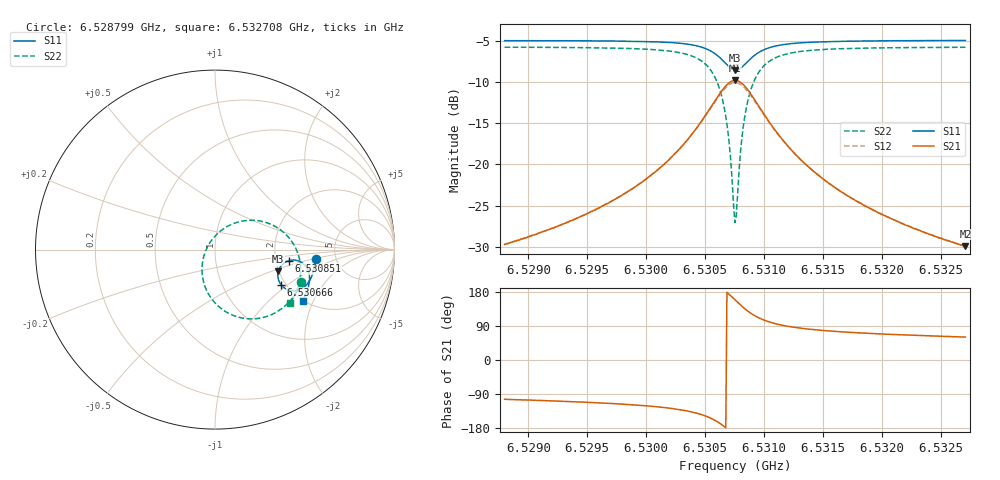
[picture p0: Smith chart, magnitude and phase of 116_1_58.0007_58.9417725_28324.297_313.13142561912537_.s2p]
#  HZ  S  RI  R  50.00
! Rohde & Schwarz Vector Network Analyzer
! Rohde-Schwarz,ZNB20-2Port,1311601062101988,3.16
! Created: UTC 3/21/2024, 12:55:24 AM
! freq[Hz]  re:S11  im:S11  re:S21  im:S21  re:S12  im:S12  re:S22  im:S22
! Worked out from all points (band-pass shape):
!   401 points, 6.528799 GHz to 6.532708 GHz, reference 50 ohm
!   highest |S21| = -9.81 dB at 6.530754 GHz (marker M1); lowest = -29.9 dB at 6.532708 GHz (marker M2)
!   |S21| within 3 dB of the highest: 6.530559 GHz to 6.53095 GHz (390.9 kHz wide, 0.00598 % of centre)
!   lowest |S11| = -8.6 dB at 6.530754 GHz (marker M3), VSWR 2.19, Z = 99.3 - j28 ohm
!   |S11| at or under -10 dB: nowhere
!   |S22| runs from -27.0 to -5.8 dB; largest |S21 - S12| = 0.013
!   S11 on the Smith chart (normalised r, x): 6.528799 GHz: 3.49, -0.55; 6.530666 GHz: 1.89, -0.89; 6.530851 GHz: 2.35, -0.35; 6.532708 GHz: 1.99, -1.66
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6.528799e9  0.5608 -0.054  -0.00774 -0.0318  -0.00839 -0.0316  0.4804 -0.183
6.5294538e9  0.5514 -0.1097  -0.0176 -0.0454  -0.0186 -0.045  0.4481 -0.2455
6.5298154e9  0.5405 -0.1444  -0.03 -0.0593  -0.0316 -0.0586  0.4151 -0.2893
6.5301086e9  0.524 -0.1778  -0.0525 -0.0781  -0.0549 -0.0765  0.3634 -0.335
6.5303334e9  0.4968 -0.2082  -0.094 -0.0988  -0.0972 -0.0956  0.2792 -0.3753
6.5304996e9  0.4517 -0.2283  -0.1657 -0.1064  -0.1682 -0.0993  0.1473 -0.3803
6.5305973e9  0.4046 -0.2233  -0.239 -0.0794  -0.2382 -0.069  0.0248 -0.3206
6.5306657e9  0.3674 -0.1948  -0.2936 -0.0185  -0.2872 -0.00747  -0.0551 -0.2074
6.530695e9  0.3556 -0.1737  -0.3082 0.022  -0.2993 0.0315  -0.0714 -0.1375
6.5307439e9  0.351 -0.1302  -0.3066 0.1007  -0.2946 0.1058  -0.0527 -0.00871
6.5307537e9  0.3529 -0.1213  -0.3015 0.1165  -0.2896 0.1204  -0.0415 0.0159
6.5307634e9  0.3559 -0.1125  -0.2949 0.1317  -0.2828 0.1345  -0.0277 0.0393
6.5307732e9  0.3595 -0.1042  -0.2869 0.1459  -0.2748 0.1476  -0.012 0.0612
6.5308123e9  0.3817 -0.0772  -0.2437 0.192  -0.2335 0.1902  0.0674 0.1283
6.5308514e9  0.4101 -0.0619  -0.1925 0.2169  -0.185 0.2134  0.1564 0.1597
6.5309198e9  0.4554 -0.0604  -0.1131 0.2199  -0.1093 0.2164  0.2899 0.1492
6.5310176e9  0.4959 -0.0822  -0.0444 0.1879  -0.0427 0.1859  0.4005 0.0789
6.5311642e9  0.52 -0.1187  -0.00275 0.1392  -0.00155 0.1384  0.4617 -0.0203
6.5314085e9  0.5269 -0.1626  0.0153 0.0911  0.0164 0.0907  0.4777 -0.1213
6.5316919e9  0.5223 -0.198  0.0184 0.063  0.0195 0.0628  0.4686 -0.1867
6.5320633e9  0.5116 -0.2337  0.0179 0.0439  0.0188 0.0437  0.4502 -0.2398
6.5327084e9  0.4884 -0.284  0.0158 0.0278  0.0163 0.0275  0.4169 -0.3
